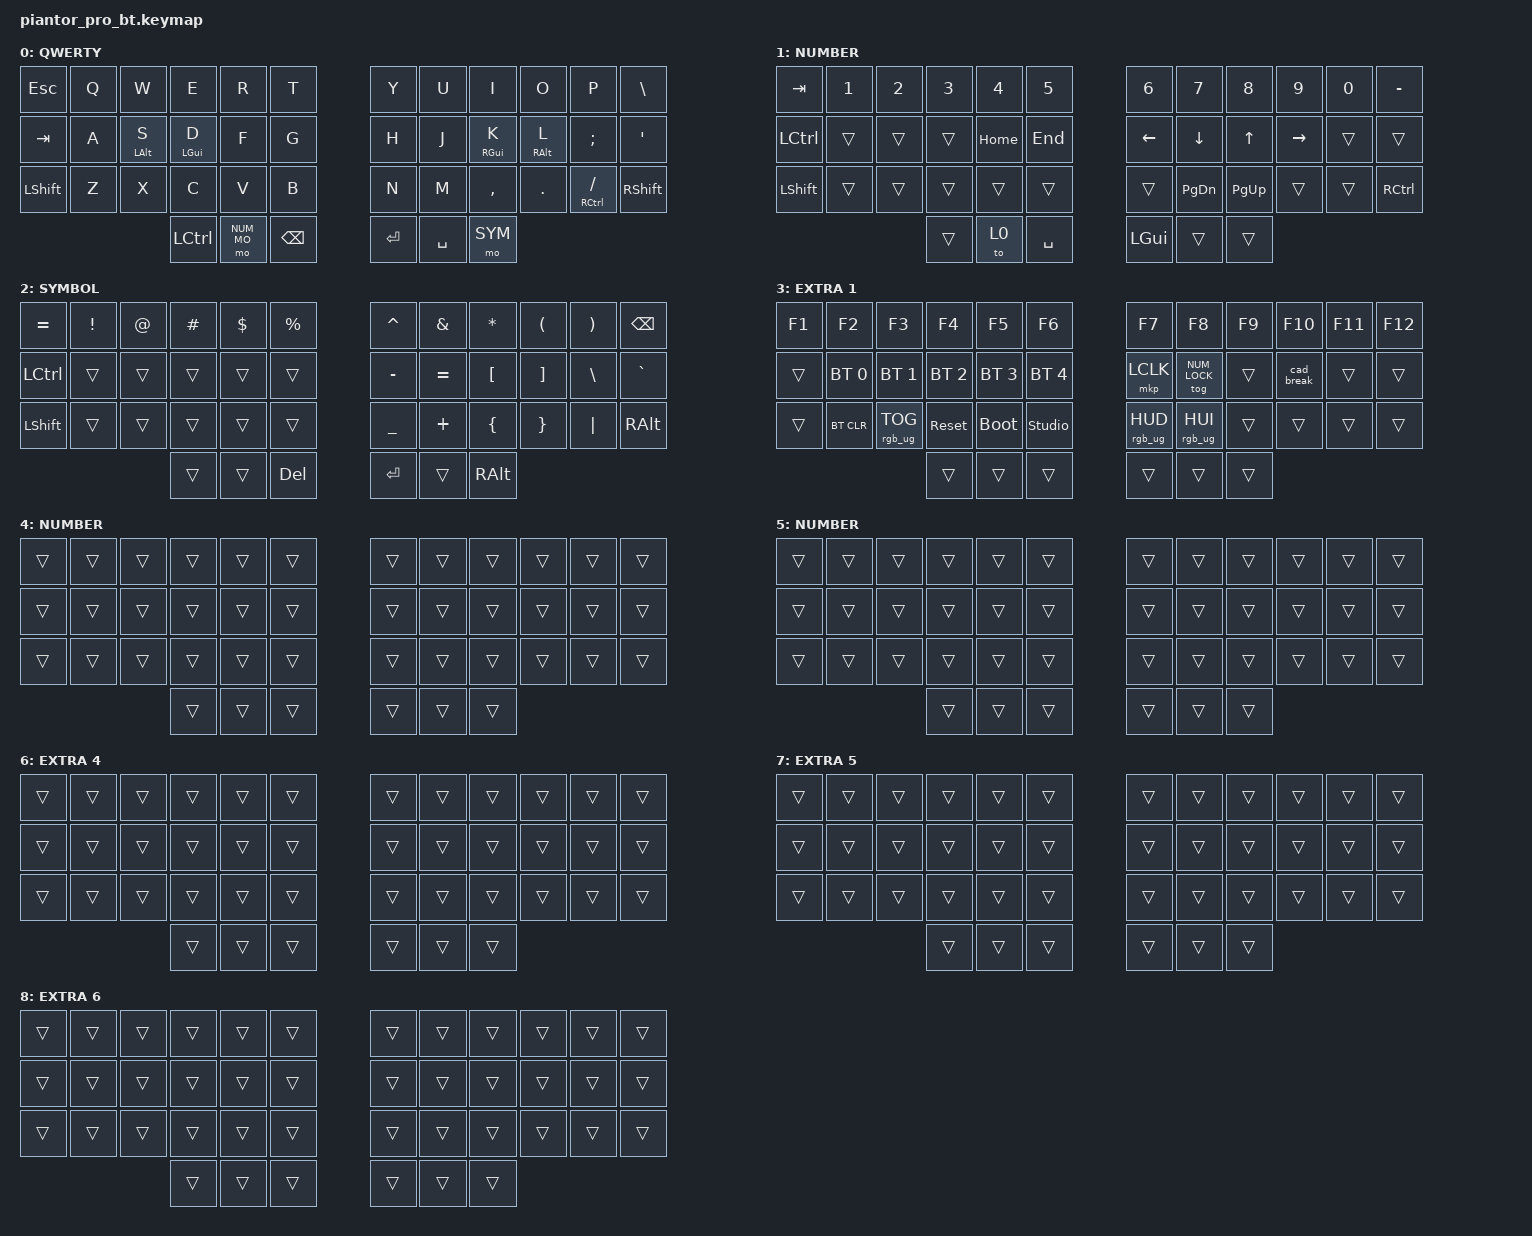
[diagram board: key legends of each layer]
/*
 * Copyright (c) 2020 The ZMK Contributors
 *
 * SPDX-License-Identifier: MIT
 */

#include <behaviors.dtsi>
#include <dt-bindings/zmk/keys.h>
#include <dt-bindings/zmk/bt.h>
#include <dt-bindings/zmk/rgb.h>
#include <dt-bindings/zmk/pointing.h>

#define NUM 1
#define SYM 2
#define EXTRA1 3
#define NUM_LOCK 4
#define NUM_MO 5

/ {
    chosen {
        zmk,physical-layout = &default_layout;
    };

    behaviors {
        hrm_ctrl: home_row_ctrl {
            compatible = "zmk,behavior-hold-tap";
            #binding-cells = <2>;
            flavor = "tap-preferred";
            tapping-term-ms = <200>;
            quick-tap-ms = <175>;
            require-prior-idle-ms = <160>;
            bindings = <&kp>, <&kp>;
        };

        hrm_alt: home_row_alt {
            compatible = "zmk,behavior-hold-tap";
            #binding-cells = <2>;
            flavor = "tap-preferred";
            tapping-term-ms = <200>;
            quick-tap-ms = <175>;
            require-prior-idle-ms = <160>;
            bindings = <&kp>, <&kp>;
        };

        hrm_gui: home_row_gui {
            compatible = "zmk,behavior-hold-tap";
            #binding-cells = <2>;
            flavor = "tap-preferred";
            tapping-term-ms = <200>;
            quick-tap-ms = <175>;
            require-prior-idle-ms = <160>;
            bindings = <&kp>, <&kp>;
        };
    };

    macros {
        cad_break: ctrl_alt_break {
            compatible = "zmk,behavior-macro";
            #binding-cells = <0>;
            bindings
                = <&macro_press &kp LCTRL &kp LALT>
                , <&macro_tap &kp PAUSE_BREAK>
                , <&macro_release &kp LALT &kp LCTRL>;
        };
    };
};

/ {
    // EXTRA 1 while NUMBER and SYMBOL are both on.
    // NUMBER itself is a then-layer so a lock flag can keep it on after Lower is released.
    conditional_layers {
        compatible = "zmk,conditional-layers";
        extra1_combo {
            if-layers = <NUM SYM>;
            then-layer = <EXTRA1>;
        };
        num_from_mo {
            if-layers = <NUM_MO>;
            then-layer = <NUM>;
        };
        num_from_lock {
            if-layers = <NUM_LOCK>;
            then-layer = <NUM>;
        };
    };

    keymap {
        compatible = "zmk,keymap";

        default_layer {
            display-name = "QWERTY";
            // --------------------------------------------------------------------------------
            // |  ESC |  Q  |  W  |  E  |  R  |  T  |  Y  |  U   |  I  |  O  |  P  |  \   |
            // |  TAB |  A  |ALT/S|GUI/D|  F  |  G  |  H  |  J   |GUI/K|ALT/L|  ;  |  '   |
            // | SHFT |  Z  |  X  |  C  |  V  |  B  |  N  |  M   |  ,  |  .  |CTL// | RSHFT|
            //                    | CTRL| LWR | BSPC| ENT | SPC  | RSE |
            bindings = <
                &kp ESC   &kp Q &kp W &kp E &kp R &kp T &kp Y &kp U  &kp I     &kp O   &kp P    &kp BSLH
                &kp TAB   &kp A &hrm_alt LALT S &hrm_gui LGUI D &kp F &kp G &kp H &kp J  &hrm_gui RGUI K     &hrm_alt RALT L   &kp SEMI &kp SQT
                &kp LSHFT &kp Z &kp X &kp C &kp V &kp B &kp N &kp M  &kp COMMA &kp DOT &hrm_ctrl RCTRL FSLH &kp RSHFT
                               &kp LCTRL &mo NUM_MO &kp BSPC &kp RET &kp SPACE &mo SYM
            >;
        };

        lower_layer {
            display-name = "NUMBER";
            // -----------------------------------------------------------------------------------------
            // |  TAB |  1  |  2  |  3  |  4  |  5    |  6  |  7  |  8  |  9  |  0  |  -   |
            // | CTRL |     |     |     | HOME| END   | LFT | DWN |  UP | RGT |     |      |
            // | SHFT |     |     |     |     |       |     | PGDN| PGUP|     |     | RCTRL|
            //                    |     | BASE| SPC   | GUI |     |     |
            bindings = <
                &kp TAB   &kp N1       &kp N2          &kp N3       &kp N4       &kp N5         &kp N6   &kp N7   &kp N8 &kp N9    &kp N0 &kp MINUS
                &kp LCTRL &trans       &trans          &trans       &kp HOME     &kp END        &kp LEFT &kp DOWN &kp UP &kp RIGHT &trans &trans
                &kp LSHFT &trans       &trans          &trans       &trans       &trans         &trans   &kp PG_DN &kp PG_UP &trans   &trans   &kp RCTRL
                                                       &trans       &to 0        &kp SPACE      &kp LGUI &trans   &trans
            >;
        };

        raise_layer {
            display-name = "SYMBOL";
            // -----------------------------------------------------------------------------------------
            // |   =  |  !  |  @  |  #  |  $  |  %  |  ^  |  &  |  *  |  (  |  )  | BSPC |
            // | CTRL |     |     |     |     |     |  -  |  =  |  [  |  ]  |  \  |  `   |
            // | SHFT |     |     |     |     |     |  _  |  +  |  {  |  }  | "|" | RALT |
            //                    |     |     | DEL | ENT |     | ALT |
            bindings = <
                &kp EQUAL &kp EXCL        &kp AT          &kp HASH &kp DLLR &kp PRCNT &kp CARET &kp AMPS  &kp ASTRK &kp LPAR &kp RPAR &kp BSPC
                &kp LCTRL &trans          &trans          &trans   &trans   &trans    &kp MINUS &kp EQUAL &kp LBKT  &kp RBKT &kp BSLH &kp GRAVE
                &kp LSHFT &trans          &trans          &trans   &trans   &trans    &kp UNDER &kp PLUS  &kp LBRC  &kp RBRC &kp PIPE &kp RALT
                                                          &trans   &trans   &kp DEL   &kp RET   &trans   &kp RALT
            >;
        };

        extra_layer_1 {
            display-name = "EXTRA 1";
            // --------------------------------------------------------------------------------
            // |  F1  | F2  | F3  | F4  | F5  | F6  | F7  | F8  | F9  | F10 | F11 | F12  |
            // |      | BT1 | BT2 | BT3 | BT4 | BT5 |LCLK |NUMTG|     |C+A+Brk|     |      |
            // |      | BTCR| RGB | RST | BOOT| Unlock| HUD | HUI |     |     |     |      |
            //                    |     |     |     |     |     |     |
            bindings = <
                &kp F1 &kp F2 &kp F3 &kp F4 &kp F5 &kp F6  &kp F7 &kp F8 &kp F9 &kp F10 &kp F11 &kp F12
                &trans &bt BT_SEL 0 &bt BT_SEL 1 &bt BT_SEL 2 &bt BT_SEL 3 &bt BT_SEL 4  &mkp LCLK &tog NUM_LOCK &trans &cad_break &trans  &trans
                &trans &bt BT_CLR &rgb_ug RGB_TOG &sys_reset &bootloader &studio_unlock  &rgb_ug RGB_HUD &rgb_ug RGB_HUI &trans &trans  &trans  &trans
                                     &trans &trans &trans  &trans &trans &trans
            >;
        };

        extra_layer_2 {
            display-name = "NUMBER";
            bindings = <
                &trans &trans &trans &trans &trans &trans  &trans &trans &trans &trans &trans &trans
                &trans &trans &trans &trans &trans &trans  &trans &trans &trans &trans &trans &trans
                &trans &trans &trans &trans &trans &trans  &trans &trans &trans &trans &trans &trans
                                     &trans &trans &trans  &trans &trans &trans       
            >;
        };

        extra_layer_3 {
            display-name = "NUMBER";
            bindings = <
                &trans &trans &trans &trans &trans &trans  &trans &trans &trans &trans &trans &trans
                &trans &trans &trans &trans &trans &trans  &trans &trans &trans &trans &trans &trans
                &trans &trans &trans &trans &trans &trans  &trans &trans &trans &trans &trans &trans
                                     &trans &trans &trans  &trans &trans &trans       
            >;
        };

        extra_layer_4 {
            display-name = "EXTRA 4";
            bindings = <
                &trans &trans &trans &trans &trans &trans  &trans &trans &trans &trans &trans &trans
                &trans &trans &trans &trans &trans &trans  &trans &trans &trans &trans &trans &trans
                &trans &trans &trans &trans &trans &trans  &trans &trans &trans &trans &trans &trans
                                     &trans &trans &trans  &trans &trans &trans       
            >;
        };

        extra_layer_5 {
            display-name = "EXTRA 5";
            bindings = <
                &trans &trans &trans &trans &trans &trans  &trans &trans &trans &trans &trans &trans
                &trans &trans &trans &trans &trans &trans  &trans &trans &trans &trans &trans &trans
                &trans &trans &trans &trans &trans &trans  &trans &trans &trans &trans &trans &trans
                                     &trans &trans &trans  &trans &trans &trans       
            >;
        };

        extra_layer_6 {
            display-name = "EXTRA 6";
            bindings = <
                &trans &trans &trans &trans &trans &trans  &trans &trans &trans &trans &trans &trans
                &trans &trans &trans &trans &trans &trans  &trans &trans &trans &trans &trans &trans
                &trans &trans &trans &trans &trans &trans  &trans &trans &trans &trans &trans &trans
                                     &trans &trans &trans  &trans &trans &trans       
            >;
        };
    };
};
